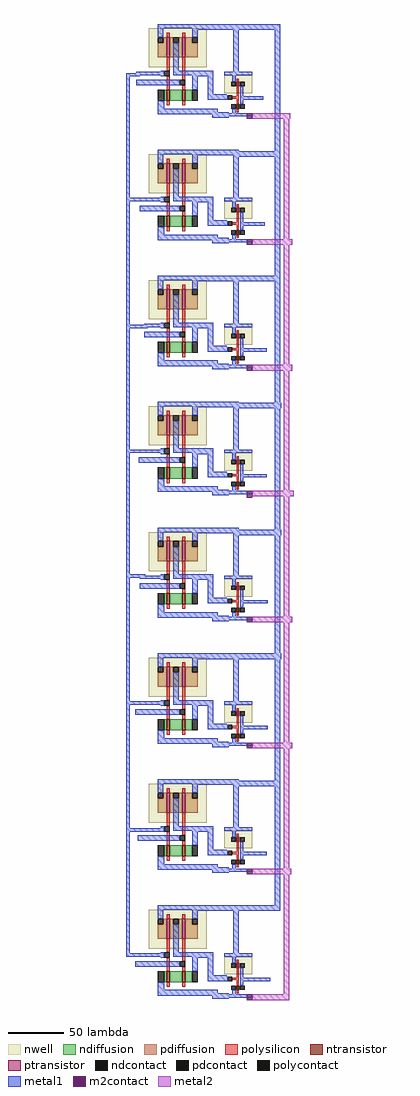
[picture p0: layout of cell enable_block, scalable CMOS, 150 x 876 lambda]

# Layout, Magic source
magic
tech scmos
<< metal1 >>
rect 78 871 122 876
rect -7 832 18 833
rect -16 830 18 832
rect -16 829 -4 830
rect -16 720 -13 829
rect -7 821 20 826
rect 94 808 107 811
rect 117 762 122 871
rect 80 757 122 762
rect -16 717 18 720
rect -16 606 -13 717
rect -4 708 20 713
rect 94 695 108 698
rect 117 650 122 757
rect 78 645 122 650
rect 0 606 18 607
rect -16 604 18 606
rect -16 603 3 604
rect -16 494 -13 603
rect 0 595 20 600
rect 94 582 110 585
rect 117 536 122 645
rect 80 531 123 536
rect -16 491 18 494
rect -16 382 -13 491
rect -5 482 20 487
rect 94 469 110 472
rect 117 422 122 531
rect 80 417 123 422
rect -16 381 1 382
rect -16 379 18 381
rect -16 268 -13 379
rect -4 378 18 379
rect -4 369 20 374
rect 94 356 111 359
rect 117 311 122 417
rect 78 306 123 311
rect -16 265 18 268
rect -16 154 -13 265
rect -8 256 20 261
rect 94 243 111 246
rect 117 197 122 306
rect 80 192 122 197
rect -16 151 18 154
rect -16 42 -13 151
rect -6 143 20 148
rect 94 130 110 133
rect 117 85 122 192
rect 79 80 122 85
rect -16 39 18 42
rect -8 30 20 35
rect 94 17 113 20
<< m2contact >>
rect 92 791 97 796
rect 92 678 97 683
rect 92 565 97 570
rect 92 451 97 457
rect 92 339 97 344
rect 92 226 97 231
rect 92 113 97 118
rect 92 0 97 5
<< metal2 >>
rect 97 791 131 796
rect 125 683 130 791
rect 97 678 133 683
rect 125 570 130 678
rect 97 565 133 570
rect 125 457 130 565
rect 97 452 134 457
rect 125 344 130 452
rect 97 339 133 344
rect 125 231 130 339
rect 97 226 133 231
rect 125 118 130 226
rect 97 113 132 118
rect 125 5 130 113
rect 97 0 130 5
use and_2_pr  and_2_pr_0
array 0 0 120 0 7 113
transform 1 0 61 0 1 2
box -57 -1 36 83
<< end >>

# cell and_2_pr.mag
magic
tech scmos
<< metal1 >>
rect -18 78 24 83
rect -18 36 1 41
rect 19 38 24 78
rect -4 20 1 36
rect -4 15 13 20
rect -18 4 5 7
rect -18 2 15 4
rect 0 -1 15 2
use nand_unlab_pr  nand_unlab_pr_0
transform 1 0 -33 0 1 53
box -24 -51 28 30
use inverter_unlab_pr  inverter_unlab_pr_0
transform 1 0 20 0 1 20
box -9 -20 16 20
<< end >>

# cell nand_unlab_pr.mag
magic
tech scmos
<< nwell >>
rect -24 -9 28 26
<< ntransistor >>
rect -8 -39 -5 -29
rect 6 -39 9 -29
<< ptransistor >>
rect -8 0 -5 18
rect 6 0 9 18
<< ndiffusion >>
rect -10 -39 -8 -29
rect -5 -39 6 -29
rect 9 -39 15 -29
<< pdiffusion >>
rect -11 13 -8 18
rect -16 0 -8 13
rect -5 13 -2 18
rect 3 13 6 18
rect -5 0 6 13
rect 9 13 15 18
rect 9 0 20 13
<< ndcontact >>
rect -16 -39 -10 -29
rect 15 -39 20 -29
<< pdcontact >>
rect -16 13 -11 18
rect -2 13 3 18
rect 15 13 20 18
<< polysilicon >>
rect -8 18 -5 22
rect 6 18 9 22
rect -8 -12 -5 0
rect -8 -29 -5 -17
rect 6 -20 9 0
rect 6 -29 9 -25
rect -8 -43 -5 -39
rect 6 -43 9 -39
<< polycontact >>
rect -10 -17 -5 -12
rect 4 -25 9 -20
<< metal1 >>
rect -16 26 20 30
rect -16 18 -11 26
rect 15 18 20 26
rect -2 -12 3 13
rect -13 -17 -10 -12
rect -2 -16 20 -12
rect -13 -25 4 -20
rect 15 -29 20 -16
rect -16 -46 -10 -39
rect -16 -51 20 -46
<< end >>

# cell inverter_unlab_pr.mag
magic
tech scmos
<< nwell >>
rect -9 1 16 17
<< ntransistor >>
rect 2 -13 4 -9
<< ptransistor >>
rect 2 7 4 11
<< ndiffusion >>
rect 1 -13 2 -9
rect 4 -13 5 -9
<< pdiffusion >>
rect 1 7 2 11
rect 4 7 5 11
<< ndcontact >>
rect -3 -13 1 -9
rect 5 -13 9 -9
<< pdcontact >>
rect -3 7 1 11
rect 5 7 9 11
<< polysilicon >>
rect 2 11 4 14
rect 2 -2 4 7
rect -2 -4 4 -2
rect 2 -9 4 -4
rect 2 -16 4 -13
<< polycontact >>
rect -6 -5 -2 -1
<< metal1 >>
rect -9 17 16 20
rect -2 11 1 17
rect -8 -5 -6 -1
rect 5 -2 8 7
rect 5 -5 16 -2
rect 5 -9 8 -5
rect -2 -17 1 -13
rect -9 -20 16 -17
<< end >>
